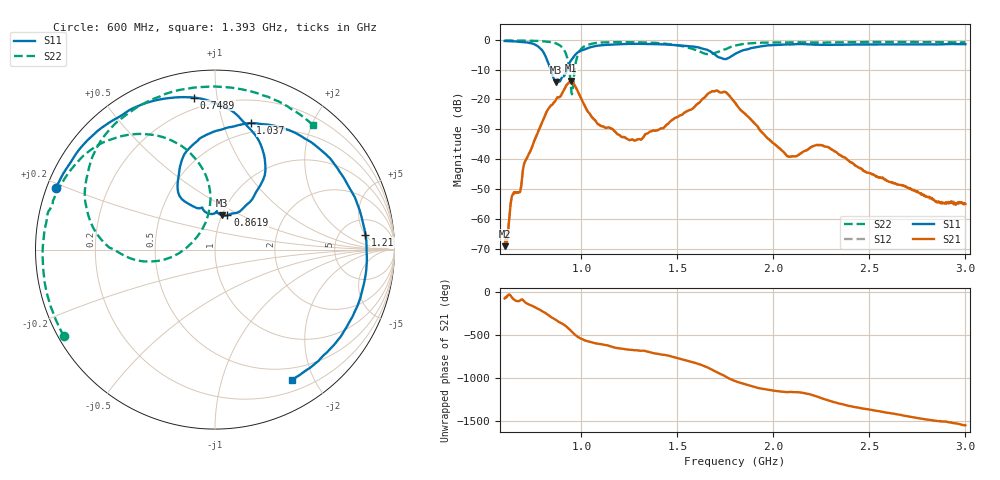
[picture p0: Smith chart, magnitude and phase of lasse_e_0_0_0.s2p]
#  HZ  S  RI  R  50.00
! Rohde & Schwarz ZVB8 2Ports - Version 2.81 - 1145.1010k08 SN: 100113
! Date: 2016-05-04 02:49:02
! Measurements: S11 S21 S12 S22
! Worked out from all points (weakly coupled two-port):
!   1000 points, 600 MHz to 3 GHz, reference 50 ohm
!   highest |S21| = -13.75 dB at 945.9 MHz (marker M1); lowest = -69.0 dB at 602.4 MHz (marker M2)
!   lowest |S11| = -14.2 dB at 866.7 MHz (marker M3), VSWR 1.48, Z = 49.9 + j19.9 ohm
!   |S11| at or under -10 dB: 839.8 MHz to 926.4 MHz (86.59 MHz wide, 9.8 % of centre)
!   |S22| runs from -18.2 to -0.3 dB; largest |S21 - S12| = 0.0019
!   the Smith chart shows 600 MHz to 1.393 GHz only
!   S11 on the Smith chart (normalised r, x): 600 MHz: 0.03, +0.19; 748.9 MHz: 0.14, +0.86; 861.9 MHz: 1.06, +0.42; 1.037 GHz: 0.41, +1.24; 1.21 GHz: 9, +5; 1.393 GHz: 0.34, -1.70
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6e8  -0.8871 0.3408  8.16e-05 -0.000356  0.000119 -0.0004  -0.8414 -0.4837
6.024024e8  -0.8813 0.3528  9.87e-05 -0.000339  7.14e-05 -0.000368  -0.846 -0.4753
6.408408e8  -0.769 0.5409  0.000776 -0.00239  0.000809 -0.00242  -0.9077 -0.3368
7.489489e8  -0.1156 0.8467  -0.0178 -0.00376  -0.0178 -0.00391  -0.9521 0.0883
8.066066e8  0.2764 0.5117  -0.0267 0.0425  -0.0268 0.0424  -0.8728 0.3353
8.618619e8  0.0689 0.1911  0.0705 0.06  0.0702 0.0602  -0.6703 0.5708
8.666667e8  0.0375 0.1912  0.0805 0.056  0.0802 0.0562  -0.6386 0.5896
9.123123e8  -0.1016 0.2316  0.135 -0.0671  0.1346 -0.0663  -0.2412 0.6075
9.459459e8  -0.2044 0.4004  -0.0147 -0.2047  -0.0134 -0.2043  -0.0529 0.1497
1.001201e9  0.00802 0.662  -0.0984 0.0144  -0.0987 0.0135  -0.6952 0.1603
1.037237e9  0.1995 0.7052  -0.0485 0.0363  -0.0486 0.036  -0.7102 0.4211
1.21021e9  0.8382 0.0835  0.0124 0.0202  0.0122 0.0202  -0.1392 0.8991
1.392793e9  0.4267 -0.7261  0.0305 -9.03e-05  0.0305 9.93e-05  0.5466 0.693
1.4e9  0.3938 -0.741  0.0309 -0.00121  0.031 -0.00107  0.567 0.6716
1.616216e9  -0.489 -0.5433  -0.0493 -0.075  -0.0486 -0.0751  0.6327 -0.0413
1.801201e9  -0.5041 -0.2907  0.0667 0.057  0.0661 0.0572  0.736 -0.3098
1.978979e9  -0.7602 0.2664  0.0102 -0.0188  0.0103 -0.0186  0.3173 -0.8363
2.2e9  -0.0998 0.8216  -0.0077 -0.0143  -0.00759 -0.0143  -0.3714 -0.8191
2.430631e9  0.709 0.4303  -0.000967 0.00768  -0.00102 0.00765  -0.8064 -0.4206
2.601201e9  0.7839 -0.2899  0.0036 0.00221  0.00361 0.00222  -0.9133 -0.0308
2.798198e9  0.1948 -0.8097  0.0017 -0.00164  0.00166 -0.00161  -0.8145 0.4055
3e9  -0.5161 -0.6636  -0.000671 -0.00165  -0.000674 -0.00163  -0.5156 0.7388
